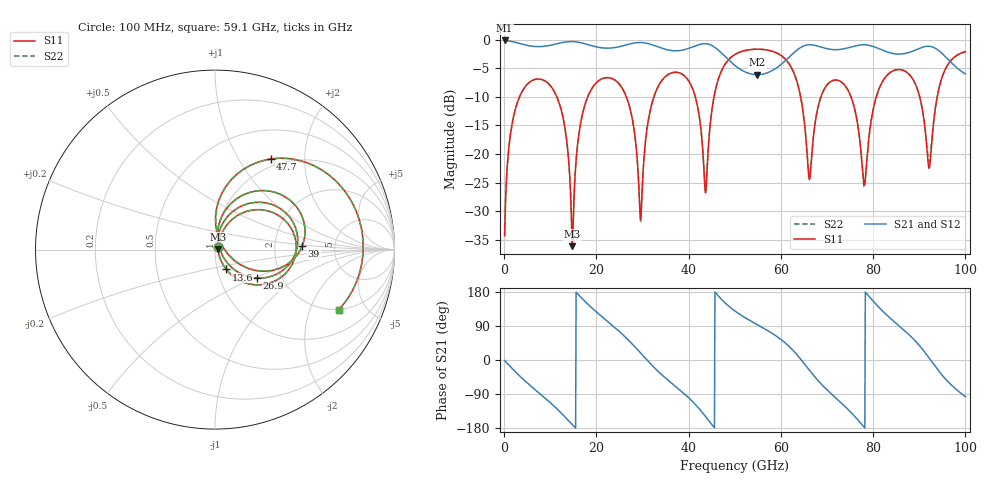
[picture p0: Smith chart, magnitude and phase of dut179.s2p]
! Touchstone file exported from HFSS 2026.1.0
!  File:  C:/ffzhzh/LocalFiles/Ansys_Project_Files/temp_test_TSV_RDL_179_1783475844_33644.aedt
!  Generated:  10:07:55 AM Jul  8, 2026
!  Design:  TSV_RDL
!  Project:  temp_test_TSV_RDL_179_1783475844_33644
! Variables:
!  h_bsmrdl = 3.73um
!  h_ox = 20um
!  h_rdl = 5um
!  h_sub = 95.32um
!  h_tmrdl = 2.9um
!  h_tsv = 95.32um
!  h_via = 3um
!  l_bsmrdl = 208.27um
!  l_sub = 3638.76um
!  l_tmrdl = 616.43um
!  m_sub = 200um
!  pitch = 57.02um
!  r_tsv = 14.3um
!  s_tmrdl = 10um
!  w_bsmrdl = 21.98um
!  w_sub = 500um
!  w_tmrdl = 27.43um
!  x_tsv_center1 = 630.145um
!  x_tsv_center2 = 860.395um
!  x_tsv_center3 = 1504.255um
!  x_tsv_center4 = 1734.505um
!  x_tsv_center5 = 2378.365um
!  x_tsv_center6 = 2608.615um
# GHz S MA R 50.000000
! Terminal data exported
! Port[1] = TM_RDL1_1_T1
! Port[2] = TM_RDL5_1_T1
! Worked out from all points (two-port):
!   1000 points, 100 MHz to 100 GHz, reference 50 ohm
!   highest |S21| = -0.13 dB at 100 MHz (marker M1); lowest = -6.1 dB at 54.9 GHz (marker M2)
!   |S21| within 3 dB of the highest: start of sweep to 48.14 GHz; 61.68 GHz to 95.86 GHz (34.19 GHz wide, 43.4 % of centre)
!   lowest |S11| = -36.1 dB at 14.8 GHz (marker M3), VSWR 1.03, Z = 51.6 + j0.27 ohm
!   |S11| at or under -10 dB: 11.43 GHz to 18.12 GHz (6.694 GHz wide, 45.3 % of centre); 26.5 GHz to 32.46 GHz (5.965 GHz wide, 20.2 % of centre); 75.2 GHz to 80.68 GHz (5.482 GHz wide, 7.03 % of centre) (the widest 3 of 7)
!   |S22| runs from -35.9 to -1.7 dB; largest |S21 - S12| = 3.4e-12
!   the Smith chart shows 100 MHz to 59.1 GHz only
!   S11 on the Smith chart (normalised r, x): 100 MHz: 1.03, +0.02; 13.6 GHz: 1.11, -0.25; 26.9 GHz: 1.51, -0.52; 39 GHz: 2.88, +0.14; 47.7 GHz: 0.89, +1.38; 59.1 GHz: 1.98, -3.20
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0.1  0.01924 38.3  0.9851 -1.4  0.9851 -1.4  0.01924 38.3
! Gamma 0 0 0 0
! Port Impedance 50 0 50 0
1.7  0.1807 61.6  0.9636 -22.0  0.9636 -22.0  0.1807 61.6
4.8  0.3987 29.0  0.8961 -58.2  0.8961 -58.2  0.3987 29.0
13.6  0.1274 -60.4  0.9587 -155.4  0.9587 -155.4  0.1274 -60.2
14.8  0.01563 9.6  0.9633 -170.9  0.9633 -170.9  0.0161 9.7
16.8  0.207 68.1  0.9378 163.6  0.9378 163.6  0.2071 67.9
26.9  0.2842 -34.0  0.911 53.1  0.911 53.1  0.2842 -34.1
29.6  0.02664 22.2  0.9449 18.1  0.9449 18.1  0.02573 22.2
33.4  0.3907 56.1  0.8637 -30.2  0.8637 -30.2  0.3905 56.3
39  0.486 2.2  0.8171 -88.5  0.8171 -88.5  0.4859 2.4
43.7  0.04582 37.3  0.9224 -149.7  0.9224 -149.7  0.04779 37.1
47.7  0.5923 58.5  0.7259 153.0  0.7259 153.0  0.5924 58.3
50.1  0.745 36.1  0.5923 128.7  0.5923 128.7  0.745 36.1
54.9  0.8261 2.8  0.4942 93.1  0.4942 93.1  0.826 2.8
59.1  0.7657 -26.0  0.569 62.2  0.569 62.2  0.7656 -25.9
66.7  0.09863 20.1  0.9019 -34.9  0.9019 -34.9  0.1009 18.3
71.5  0.4424 -6.6  0.8183 -95.6  0.8183 -95.6  0.4424 -7.0
77.2  0.122 -51.3  0.899 -165.1  0.899 -165.1  0.1211 -52.2
83.4  0.5054 20.4  0.7735 113.7  0.7735 113.7  0.5052 20.7
89  0.4225 -33.0  0.8072 52.0  0.8072 52.0  0.423 -32.1
92.1  0.0751 -1.2  0.8765 6.0  0.8765 6.0  0.08535 -0.1
100  0.7852 -9.2  0.5021 -96.8  0.5021 -96.8  0.7859 -9.6
